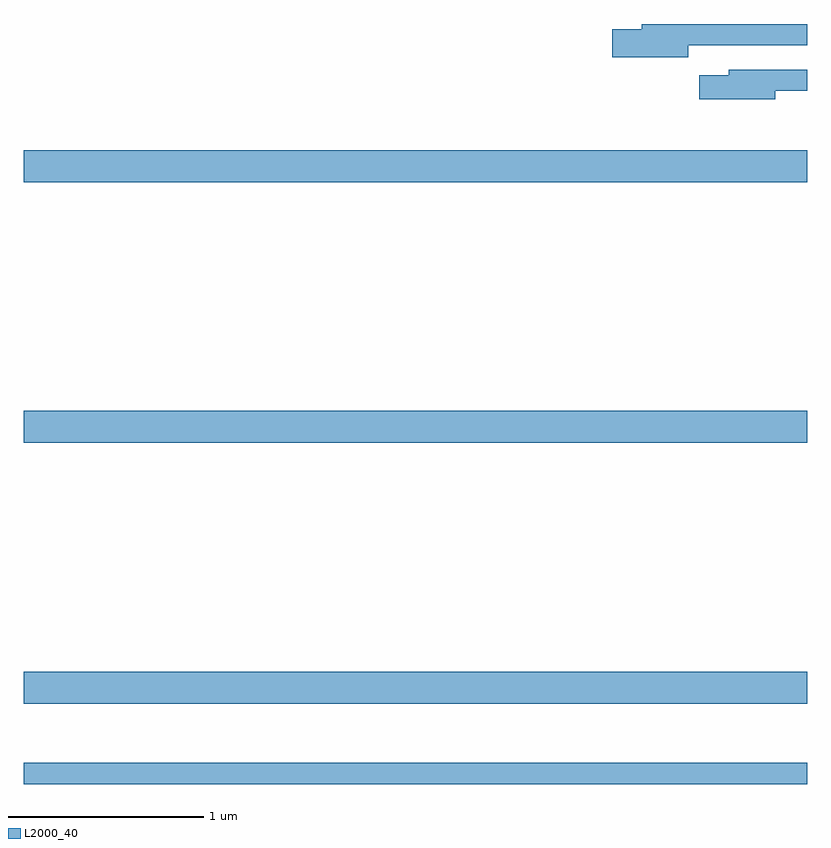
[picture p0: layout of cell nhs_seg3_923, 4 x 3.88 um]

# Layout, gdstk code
import gdstk
lib = gdstk.Library(unit=1e-6, precision=1e-09)
def R(c, l, rs):  # rectangles x0, y0, x1, y1
    for r in rs: c.add(gdstk.rectangle(r[:2], r[2:], *l))
def A(c, l, x, y, w, h, nx, ny, dx, dy):  # array of equal rectangles
    R(c, l, [(x+i*dx, y+j*dy, x+i*dx+w, y+j*dy+h) for i in range(nx) for j in range(ny)])
def P(c, l, *ps):  # polygons
    for p in ps: c.add(gdstk.Polygon(p, *l))
L2000_40 = (2000, 40)

nhs_seg3_923 = lib.new_cell('nhs_seg3_923')
A(nhs_seg3_923, L2000_40, 159, 688.928, 4, 0.164, 1, 3, 0, 1.332)
R(nhs_seg3_923, L2000_40, [(159,688.518,163,688.627)])
P(nhs_seg3_923, L2000_40, [(162.394,692.292),(163,692.292),(163,692.4),(162.155,692.4),(162.155,692.372),(162.006,692.372),(162.006,692.23),(162.394,692.23)],
  [(162.838,692.058),(163,692.058),(163,692.166),(162.599,692.166),(162.599,692.137),(162.45,692.137),(162.45,692.015),(162.838,692.015)])

lib.write_gds('nhs_seg3_923.gds')
